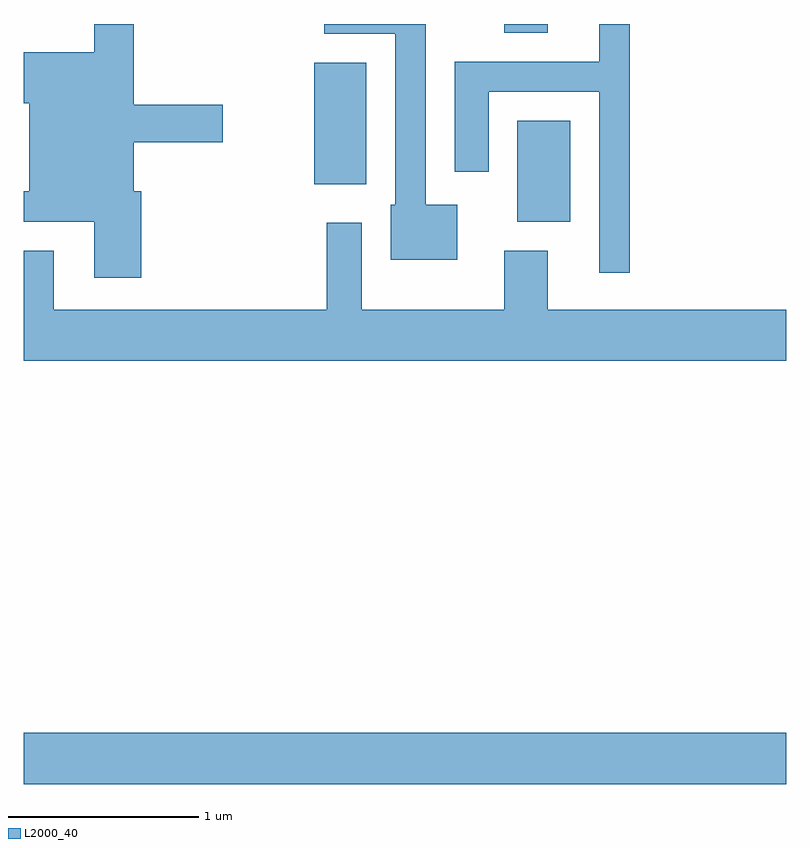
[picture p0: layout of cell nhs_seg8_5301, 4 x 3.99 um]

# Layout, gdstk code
import gdstk
lib = gdstk.Library(unit=1e-6, precision=1e-09)
def R(c, l, rs):  # rectangles x0, y0, x1, y1
    for r in rs: c.add(gdstk.rectangle(r[:2], r[2:], *l))
def P(c, l, *ps):  # polygons
    for p in ps: c.add(gdstk.Polygon(p, *l))
L2000_40 = (2000, 40)

nhs_seg8_5301 = lib.new_cell('nhs_seg8_5301')
R(nhs_seg8_5301, L2000_40, [(343.611,1896.356,347.611,1896.624), (346.201,1899.306,346.479,1899.834), (345.136,1899.501,345.409,1900.139), (346.131,1900.296,346.359,1900.342)])
P(nhs_seg8_5301, L2000_40, [(346.789,1900.342),(346.631,1900.342),(346.631,1900.144),(345.871,1900.144),(345.871,1899.566),(346.049,1899.566),(346.049,1899.986),(346.631,1899.986),(346.631,1899.038),(346.789,1899.038)],
  [(344.229,1899.464),(344.189,1899.464),(344.189,1899.721),(344.654,1899.721),(344.654,1899.919),(344.189,1899.919),(344.189,1900.342),(343.981,1900.342),(343.981,1900.194),(343.611,1900.194),(343.611,1899.926),(343.641,1899.926),(343.641,1899.464),(343.611,1899.464),(343.611,1899.306),(343.981,1899.306),(343.981,1899.011),(344.229,1899.011)],
  [(345.884,1899.394),(345.719,1899.394),(345.719,1900.342),(345.188,1900.342),(345.188,1900.291),(345.561,1900.291),(345.561,1899.394),(345.536,1899.394),(345.536,1899.106),(345.884,1899.106)],
  [(347.611,1898.844),(346.359,1898.844),(346.359,1899.154),(346.131,1899.154),(346.131,1898.844),(345.384,1898.844),(345.384,1899.299),(345.201,1899.299),(345.201,1898.844),(343.769,1898.844),(343.769,1899.154),(343.611,1899.154),(343.611,1898.576),(347.611,1898.576)])

lib.write_gds('nhs_seg8_5301.gds')
